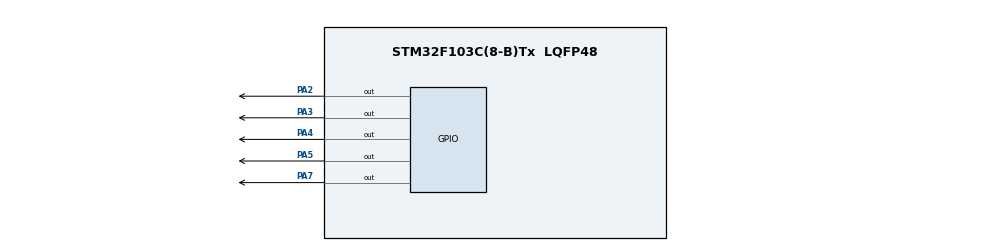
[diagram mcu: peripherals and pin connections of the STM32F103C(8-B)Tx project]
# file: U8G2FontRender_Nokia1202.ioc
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Mcu.Family=STM32F1
Mcu.Name=STM32F103C(8-B)Tx
Mcu.Package=LQFP48
NVIC.PriorityGroup=NVIC_PRIORITYGROUP_4
PA13.Mode=Serial_Wire
PA13.Signal=SYS_JTMS-SWDIO
PA14.Mode=Serial_Wire
PA14.Signal=SYS_JTCK-SWCLK
PA2.Signal=GPIO_Output
PA3.Signal=GPIO_Output
PA4.Signal=GPIO_Output
PA5.Signal=GPIO_Output
PA7.Signal=GPIO_Output
ProjectManager.HeapSize=0x200
ProjectManager.StackSize=0x400
ProjectManager.TargetToolchain=STM32CubeIDE
RCC.APB1Freq_Value=8000000
RCC.APB2Freq_Value=8000000
board=custom

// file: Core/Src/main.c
/* USER CODE BEGIN Header */
/**
  ******************************************************************************
  * @file           : main.c
  * @brief          : Main program body
  ******************************************************************************
  * @attention
  *
  * <h2><center>&copy; Copyright (c) 2020 STMicroelectronics.
  * All rights reserved.</center></h2>
  *
  * This software component is licensed by ST under BSD 3-Clause license,
  * the "License"; You may not use this file except in compliance with the
  * License. You may obtain a copy of the License at:
  *                        opensource.org/licenses/BSD-3-Clause
  *
  ******************************************************************************
  */
/* USER CODE END Header */
#include "main.h"
#include "n1202.h"
#include "u8g2_font_render.h"
#include "u8g2_fonts.h"

/* USER CODE BEGIN PV */
uint8_t _N1202_RAM[N1202_WIDTH * N1202_STRING];
/* USER CODE END PV */

void SystemClock_Config(void);
static void MX_GPIO_Init(void);
/* USER CODE BEGIN PFP */
void N1202_DrawFgPixel(uint8_t x, uint8_t y);
void N1202_DrawBgPixel(uint8_t x, uint8_t y);
/* USER CODE END PFP */

int main(void)
{

  /* MCU Configuration--------------------------------------------------------*/

  /* Reset of all peripherals, Initializes the Flash interface and the Systick. */
  HAL_Init();

  /* Configure the system clock */
  SystemClock_Config();

  /* Initialize all configured peripherals */
  MX_GPIO_Init();
  /* USER CODE BEGIN 2 */
  N1202_Init();
  /* USER CODE END 2 */

  /* Infinite loop */
  /* USER CODE BEGIN WHILE */
  HAL_GPIO_WritePin(N1202_LED_PORT, N1202_LED_PIN, GPIO_PIN_SET);
  U8G2FontRender_t font2 = U8G2FontRender(u8g2_font_profont12_tf, &N1202_DrawFgPixel, &N1202_DrawBgPixel);

  U8G2FontRender_Print(&font2, 0, 0, "ABCDEFGHIJKLMNOPQR");
  U8G2FontRender_Print(&font2, 0, 10, "QRSTUVWXYZ,.'`_");

  U8G2FontRender_Print(&font2, 0, 20, "abcdefghijklmnop");
  U8G2FontRender_Print(&font2, 0, 30, "qrstuvwxyz,.=+-~");

  U8G2FontRender_Print(&font2, 0, 40, "<>?/;:[]{}!@#$%^");
  U8G2FontRender_Print(&font2, 0, 50, "&*()");

  N1202_Update();
  while (1)
  {
    /* USER CODE END WHILE */

  }
}

void SystemClock_Config(void)
{
  RCC_OscInitTypeDef RCC_OscInitStruct = {0};
  RCC_ClkInitTypeDef RCC_ClkInitStruct = {0};

  /** Initializes the RCC Oscillators according to the specified parameters
  * in the RCC_OscInitTypeDef structure.
  */
  RCC_OscInitStruct.OscillatorType = RCC_OSCILLATORTYPE_HSI;
  RCC_OscInitStruct.HSIState = RCC_HSI_ON;
  RCC_OscInitStruct.HSICalibrationValue = RCC_HSICALIBRATION_DEFAULT;
  RCC_OscInitStruct.PLL.PLLState = RCC_PLL_NONE;
  if (HAL_RCC_OscConfig(&RCC_OscInitStruct) != HAL_OK)
  {
    Error_Handler();
  }
  /** Initializes the CPU, AHB and APB buses clocks
  */
  RCC_ClkInitStruct.ClockType = RCC_CLOCKTYPE_HCLK|RCC_CLOCKTYPE_SYSCLK
                              |RCC_CLOCKTYPE_PCLK1|RCC_CLOCKTYPE_PCLK2;
  RCC_ClkInitStruct.SYSCLKSource = RCC_SYSCLKSOURCE_HSI;
  RCC_ClkInitStruct.AHBCLKDivider = RCC_SYSCLK_DIV1;
  RCC_ClkInitStruct.APB1CLKDivider = RCC_HCLK_DIV1;
  RCC_ClkInitStruct.APB2CLKDivider = RCC_HCLK_DIV1;

  if (HAL_RCC_ClockConfig(&RCC_ClkInitStruct, FLASH_LATENCY_0) != HAL_OK)
  {
    Error_Handler();
  }
}

static void MX_GPIO_Init(void)
{
  GPIO_InitTypeDef GPIO_InitStruct = {0};

  /* GPIO Ports Clock Enable */
  __HAL_RCC_GPIOA_CLK_ENABLE();

  /*Configure GPIO pin Output Level */
  HAL_GPIO_WritePin(GPIOA, GPIO_PIN_2|GPIO_PIN_3|GPIO_PIN_4|GPIO_PIN_5
                          |GPIO_PIN_7, GPIO_PIN_RESET);

  /*Configure GPIO pins : PA2 PA3 PA4 PA5
                           PA7 */
  GPIO_InitStruct.Pin = GPIO_PIN_2|GPIO_PIN_3|GPIO_PIN_4|GPIO_PIN_5
                          |GPIO_PIN_7;
  GPIO_InitStruct.Mode = GPIO_MODE_OUTPUT_PP;
  GPIO_InitStruct.Pull = GPIO_NOPULL;
  GPIO_InitStruct.Speed = GPIO_SPEED_FREQ_LOW;
  HAL_GPIO_Init(GPIOA, &GPIO_InitStruct);

}

/* USER CODE BEGIN 4 */
void N1202_DrawFgPixel(uint8_t x, uint8_t y) {
  N1202_DrawPixel(x, y, 1);
}

void N1202_DrawBgPixel(uint8_t x, uint8_t y) {
  N1202_DrawPixel(x, y, 0);
}
/* USER CODE END 4 */

void Error_Handler(void)
{
}

/************************ (C) COPYRIGHT STMicroelectronics *****END OF FILE****/
